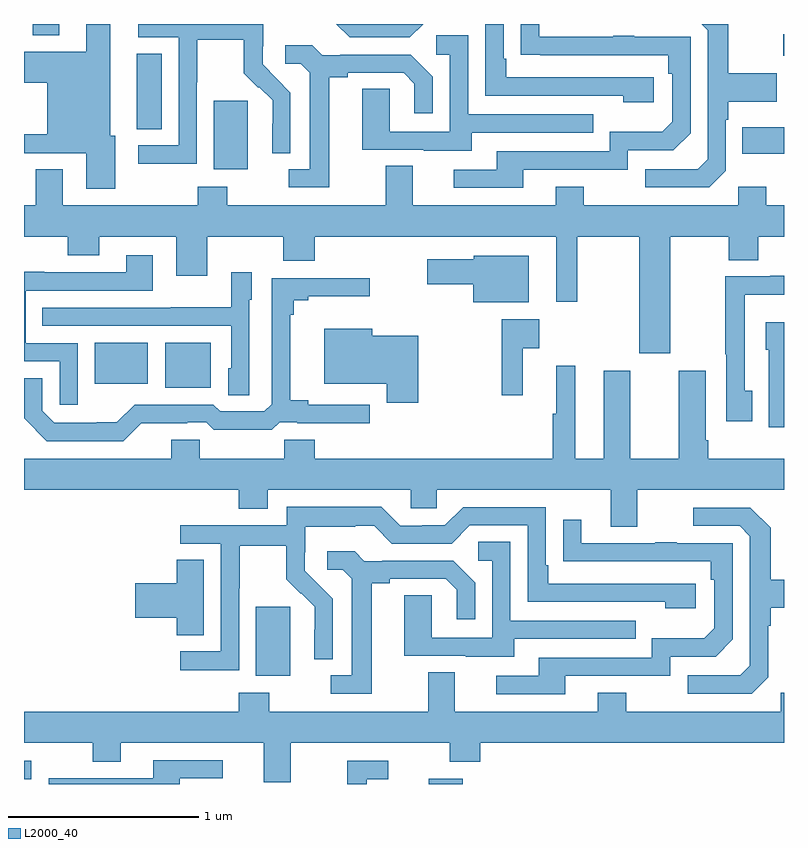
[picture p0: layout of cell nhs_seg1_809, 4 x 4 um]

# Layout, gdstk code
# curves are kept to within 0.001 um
import gdstk
lib = gdstk.Library(unit=1e-6, precision=1e-09)
def R(c, l, rs):  # rectangles x0, y0, x1, y1
    for r in rs: c.add(gdstk.rectangle(r[:2], r[2:], *l))
def P(c, l, *ps):  # polygons
    for p in ps: c.add(gdstk.Polygon(p, *l))
L2000_40 = (2000, 40)

nhs_seg1_809 = lib.new_cell('nhs_seg1_809')
R(nhs_seg1_809, L2000_40, [(157.13,534.199,157.309,534.226), (155,534.225,155.038,534.321), (156.221,534.77,156.4,535.131), (155.744,536.285,155.983,536.521), (155.372,536.306,155.65,536.521), (155.999,537.434,156.178,537.795), (158.779,537.515,159,537.655), (155.594,537.646,155.725,538.043), (158.997,538.031,159,538.144), (155.045,538.139,155.185,538.199)])
P(nhs_seg1_809, L2000_40, [(158.314,537.918),(157.537,537.918),(157.537,538.015),(157.524,538.015),(157.524,538.199),(157.428,538.199),(157.428,537.822),(158.153,537.822),(158.153,537.788),(158.314,537.788)],
  [(157.1,538.199),(156.643,538.199),(156.714,538.128),(157.029,538.128)],
  [(155.91,537.892),(155.913,537.892),(155.913,538.116),(156.157,538.116),(156.157,537.941),(156.234,537.864),(156.237,537.867),(156.308,537.797),(156.308,537.674),(156.306,537.674),(156.306,537.52),(156.402,537.52),(156.402,537.838),(156.256,537.986),(156.256,538.083),(156.258,538.083),(156.258,538.199),(155.601,538.199),(155.601,538.128),(155.814,538.128),(155.814,537.561),(155.601,537.561),(155.601,537.463),(155.91,537.463)],
  [(158.694,537.426),(158.694,537.695),(158.707,537.695),(158.707,537.791),(158.963,537.791),(158.963,537.939),(158.707,537.939),(158.707,538.199),(158.566,538.199),(158.598,538.167),(158.598,537.486),(158.547,537.435),(158.271,537.435),(158.271,537.339),(158.607,537.339)],
  [(155.479,537.612),(155.455,537.612),(155.455,538.199),(155.327,538.199),(155.327,538.054),(155,538.054),(155,537.89),(155.123,537.89),(155.123,537.62),(155,537.62),(155,537.519),(155.327,537.519),(155.327,537.333),(155.479,537.333)],
  [(157.627,537.432),(158.178,537.432),(158.178,537.534),(158.418,537.534),(158.508,537.624),(158.508,538.131),(158.213,538.131),(158.213,538.136),(158.101,538.136),(158.101,538.131),(157.711,538.131),(157.711,538.199),(157.615,538.199),(157.615,538.036),(158.392,538.035),(158.392,537.938),(158.412,537.938),(158.412,537.684),(158.359,537.631),(158.082,537.631),(158.082,537.528),(157.487,537.528),(157.487,537.432),(157.263,537.432),(157.263,537.336),(157.627,537.336)],
  [(157.357,537.627),(157.997,537.627),(157.997,537.723),(157.338,537.723),(157.338,538.139),(157.17,538.139),(157.17,538.038),(157.242,538.038),(157.242,537.633),(156.924,537.633),(156.924,537.857),(156.779,537.857),(156.779,537.537),(157.103,537.537),(157.103,537.533),(157.357,537.533)],
  [(156.607,537.92),(156.703,537.92),(156.703,537.942),(156.998,537.942),(157.055,537.885),(157.055,537.729),(157.152,537.729),(157.152,537.922),(157.036,538.038),(156.664,538.038),(156.664,538.035),(156.57,538.035),(156.518,538.087),(156.375,538.087),(156.375,537.99),(156.456,537.99),(156.503,537.943),(156.503,537.435),(156.393,537.435),(156.393,537.339),(156.607,537.339)],
  [(158.401,537.08),(158.71,537.08),(158.71,536.956),(158.865,536.956),(158.865,537.08),(159,537.08),(159,537.244),(158.907,537.244),(158.907,537.343),(158.76,537.343),(158.76,537.244),(157.947,537.244),(157.947,537.343),(157.799,537.343),(157.799,537.244),(157.045,537.244),(157.045,537.452),(156.905,537.452),(156.905,537.244),(156.069,537.244),(156.069,537.343),(155.914,537.343),(155.914,537.244),(155.203,537.244),(155.203,537.434),(155.063,537.434),(155.063,537.244),(155,537.244),(155,537.08),(155.231,537.08),(155.231,536.981),(155.395,536.981),(155.395,537.08),(155.801,537.08),(155.801,536.874),(155.965,536.874),(155.965,537.08),(156.365,537.08),(156.365,536.952),(156.529,536.952),(156.529,537.08),(157.802,537.08),(157.802,536.736),(157.912,536.736),(157.912,537.08),(158.237,537.08),(158.237,536.466),(158.401,536.466)],
  [(155.283,536.52),(155.01,536.52),(155.01,536.796),(155.677,536.796),(155.677,536.983),(155.537,536.983),(155.537,536.892),(155.107,536.892),(155.107,536.894),(155,536.894),(155,536.424),(155.187,536.424),(155.187,536.196),(155.283,536.196)],
  [(157.657,536.98),(157.368,536.98),(157.368,536.962),(157.122,536.962),(157.122,536.828),(157.364,536.828),(157.364,536.735),(157.657,536.735)],
  [(156.186,536.748),(156.199,536.748),(156.199,536.893),(156.09,536.893),(156.09,536.707),(155.773,536.707),(155.773,536.706),(155.095,536.706),(155.095,536.61),(156.09,536.61),(156.09,536.388),(156.074,536.388),(156.074,536.245),(156.186,536.245)],
  [(158.833,536.27),(158.793,536.27),(158.793,536.774),(159,536.774),(159,536.873),(158.927,536.873),(158.927,536.871),(158.692,536.871),(158.692,536.461),(158.697,536.461),(158.697,536.109),(158.833,536.109)],
  [(155.618,536.099),(155.858,536.099),(155.858,536.103),(155.958,536.103),(155.998,536.064),(156.305,536.064),(156.345,536.103),(156.439,536.103),(156.439,536.099),(156.82,536.099),(156.82,536.196),(156.496,536.196),(156.496,536.219),(156.401,536.219),(156.401,536.669),(156.419,536.669),(156.419,536.746),(156.496,536.746),(156.496,536.765),(156.82,536.765),(156.82,536.862),(156.303,536.862),(156.303,536.199),(156.264,536.16),(156.033,536.16),(155.997,536.196),(155.583,536.196),(155.489,536.102),(155.384,536.102),(155.384,536.1),(155.16,536.1),(155.097,536.163),(155.097,536.334),(155,536.334),(155,536.125),(155.12,536.004),(155.523,536.004)],
  [(157.625,536.492),(157.711,536.492),(157.711,536.644),(157.515,536.644),(157.515,536.244),(157.625,536.244)],
  [(159,536.629),(158.903,536.629),(158.903,536.484),(158.921,536.484),(158.921,536.076),(159,536.076)],
  [(157.074,536.557),(156.832,536.557),(156.832,536.596),(156.581,536.596),(156.581,536.306),(156.908,536.306),(156.908,536.205),(157.074,536.205)],
  [(158.227,535.748),(159,535.748),(159,535.912),(158.6,535.912),(158.6,536.008),(158.587,536.008),(158.587,536.374),(158.447,536.374),(158.447,535.912),(158.191,535.912),(158.191,536.374),(158.051,536.374),(158.051,535.912),(157.9,535.912),(157.9,536.401),(157.802,536.401),(157.802,536.148),(157.783,536.148),(157.783,535.912),(156.53,535.912),(156.53,536.01),(156.37,536.01),(156.37,535.912),(155.925,535.912),(155.925,536.01),(155.774,536.01),(155.774,535.912),(155,535.912),(155,535.748),(156.131,535.748),(156.131,535.649),(156.283,535.649),(156.283,535.748),(157.035,535.748),(157.035,535.65),(157.173,535.65),(157.173,535.748),(158.087,535.748),(158.087,535.554),(158.227,535.554)],
  [(156.132,535.228),(156.135,535.228),(156.135,535.452),(156.379,535.452),(156.379,535.277),(156.456,535.2),(156.459,535.203),(156.53,535.133),(156.53,535.01),(156.528,535.01),(156.528,534.856),(156.624,534.856),(156.624,535.174),(156.478,535.322),(156.478,535.419),(156.48,535.419),(156.48,535.553),(156.743,535.553),(156.743,535.557),(156.843,535.557),(156.936,535.464),(157.251,535.464),(157.347,535.56),(157.65,535.56),(157.65,535.158),(158.375,535.158),(158.375,535.124),(158.536,535.124),(158.536,535.254),(157.759,535.254),(157.759,535.351),(157.746,535.351),(157.746,535.656),(157.311,535.656),(157.215,535.56),(157.097,535.56),(157.097,535.557),(156.981,535.557),(156.881,535.657),(156.384,535.657),(156.384,535.56),(155.823,535.56),(155.823,535.464),(156.036,535.464),(156.036,534.897),(155.823,534.897),(155.823,534.799),(156.132,534.799)],
  [(158.916,534.762),(158.916,535.031),(158.929,535.031),(158.929,535.127),(159,535.127),(159,535.275),(158.929,535.275),(158.929,535.547),(158.823,535.653),(158.523,535.653),(158.523,535.557),(158.766,535.557),(158.82,535.503),(158.82,534.822),(158.769,534.771),(158.493,534.771),(158.493,534.675),(158.829,534.675)],
  [(157.849,534.768),(158.4,534.768),(158.4,534.87),(158.64,534.87),(158.73,534.96),(158.73,535.467),(158.435,535.467),(158.435,535.472),(158.323,535.472),(158.323,535.467),(157.933,535.467),(157.933,535.591),(157.837,535.591),(157.837,535.372),(158.614,535.371),(158.614,535.274),(158.634,535.274),(158.634,535.02),(158.581,534.967),(158.304,534.967),(158.304,534.864),(157.709,534.864),(157.709,534.768),(157.485,534.768),(157.485,534.672),(157.849,534.672)],
  [(157.579,534.963),(158.219,534.963),(158.219,535.059),(157.56,535.059),(157.56,535.475),(157.392,535.475),(157.392,535.374),(157.464,535.374),(157.464,534.969),(157.146,534.969),(157.146,535.193),(157.001,535.193),(157.001,534.873),(157.325,534.873),(157.325,534.869),(157.579,534.869)],
  [(156.829,535.256),(156.925,535.256),(156.925,535.278),(157.22,535.278),(157.277,535.221),(157.277,535.065),(157.374,535.065),(157.374,535.258),(157.258,535.374),(156.886,535.374),(156.886,535.371),(156.792,535.371),(156.74,535.423),(156.597,535.423),(156.597,535.326),(156.678,535.326),(156.725,535.279),(156.725,534.771),(156.615,534.771),(156.615,534.675),(156.829,534.675)],
  [(155.947,535.379),(155.804,535.379),(155.804,535.256),(155.586,535.256),(155.586,535.073),(155.804,535.073),(155.804,534.982),(155.947,534.982)],
  [(156.403,534.416),(157.24,534.416),(157.24,534.317),(157.4,534.317),(157.4,534.416),(159,534.416),(159,534.679),(158.982,534.679),(158.982,534.58),(158.169,534.58),(158.169,534.679),(158.021,534.679),(158.021,534.58),(157.267,534.58),(157.267,534.788),(157.127,534.788),(157.127,534.58),(156.291,534.58),(156.291,534.679),(156.131,534.679),(156.131,534.58),(155,534.58),(155,534.416),(155.362,534.416),(155.362,534.317),(155.509,534.317),(155.509,534.416),(156.263,534.416),(156.263,534.208),(156.403,534.208)],
  [(155.821,534.228),(156.046,534.228),(156.046,534.324),(155.681,534.324),(155.681,534.228),(155.13,534.228),(155.13,534.199),(155.821,534.199)],
  [(156.805,534.225),(156.916,534.225),(156.916,534.321),(156.701,534.321),(156.701,534.199),(156.805,534.199)])

lib.write_gds('nhs_seg1_809.gds')
